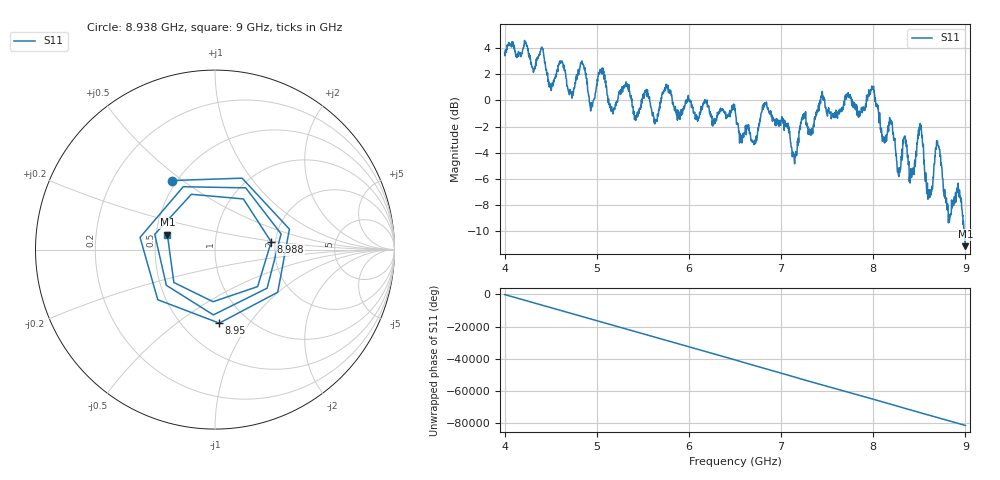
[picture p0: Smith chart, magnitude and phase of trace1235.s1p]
! Created with skrf 1.8.0 (http://scikit-rf.org).
# Hz S RI R 50.0
!freq ReS11 ImS11
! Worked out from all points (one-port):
!   1601 points, 4 GHz to 9 GHz, reference 50 ohm
!   lowest |S11| = -11.1 dB at 9 GHz (marker M1), VSWR 1.77, Z = 28.7 + j5.14 ohm
!   |S11| at or under -10 dB: 8.987848 GHz to end of sweep
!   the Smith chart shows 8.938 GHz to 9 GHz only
!   S11 on the Smith chart (normalised r, x): 8.938 GHz: 0.47, +0.46; 8.95 GHz: 0.74, -0.73; 8.988 GHz: 1.90, +0.18; 9 GHz: 0.57, +0.10
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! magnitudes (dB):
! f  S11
! 4 GHz  3.6
! 4.403 GHz  4.1
! 4.503 GHz  0.8
! 4.625 GHz  2.9
! 4.722 GHz  0.5
! 4.847 GHz  2.8
! 4.944 GHz  -0.2
! 5.044 GHz  2.2
! 5.156 GHz  -0.8
! 5.25 GHz  0.7
! 5.875 GHz  -1.5
! 6.5 GHz  -0.6
! 6.703 GHz  -3.3
! 6.834 GHz  -0.2
! 7.125 GHz  -4.0
! 7.447 GHz  0.7
! 7.75 GHz  0.4
! 7.991 GHz  0.9
! 8.272 GHz  -5.6
! 8.375 GHz  -4.2
! 8.509 GHz  -1.8
! 8.603 GHz  -6.8
! 8.7 GHz  -3.4
! 8.822 GHz  -9.0
! 8.938 GHz  -6.9
! 8.95 GHz  -7.7
! 8.988 GHz  -10.0
! 9 GHz  -11.1
